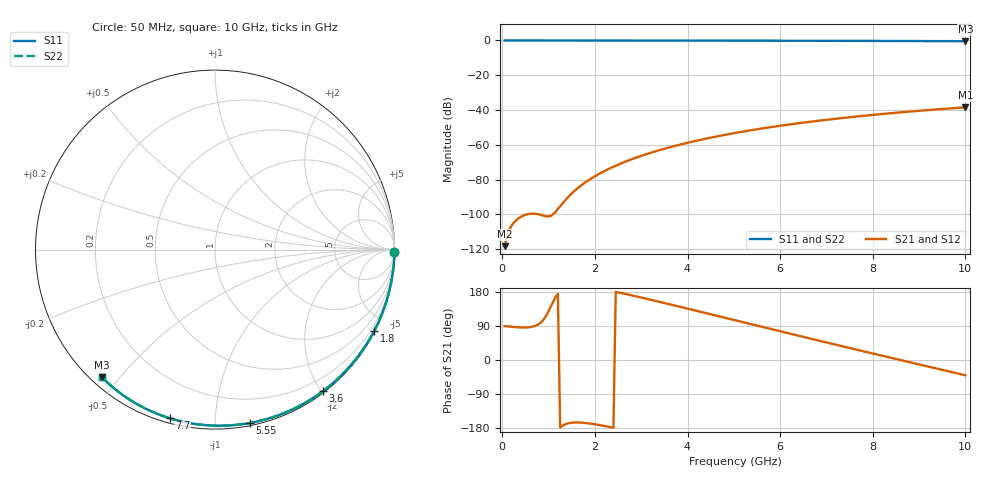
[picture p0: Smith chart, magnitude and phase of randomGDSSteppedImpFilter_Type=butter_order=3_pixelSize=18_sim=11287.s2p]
! freq	dB(S11)	phase(S11)	dB(S12)	phase(S12)
!  dB(S21)	phase(S21)	dB(S22)	phase(S22)
!S-par simulation data
#  GHz  S  DB  R 50
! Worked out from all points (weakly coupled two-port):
!   200 points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, 50 MHz to 10 GHz, reference 50 ohm
!   highest |S21| = -38.45 dB at 10 GHz (marker M1); lowest = -118.3 dB at 50 MHz (marker M2)
!   lowest |S11| = -0.4 dB at 10 GHz (marker M3), VSWR 39.15, Z = 1.54 - j22.5 ohm
!   |S11| at or under -10 dB: nowhere
!   |S22| runs from -0.4 to 0.0 dB; largest |S21 - S12| = 0
!   S11 on the Smith chart (normalised r, x): 50 MHz: open; 1.8 GHz: 0.04, -4.17; 3.6 GHz: 0.02, -2.02; 5.55 GHz: 0.02, -1.22; 7.7 GHz: 0.02, -0.77; 10 GHz: 0.03, -0.45
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0.05  -0.00 -0.8  -118.32 89.4  -118.32 89.4  -0.00 -0.8
0.9  -0.02 -13.6  -100.89 108.4  -100.89 108.4  -0.02 -13.6
1.75  -0.03 -26.2  -82.45 -165.7  -82.45 -165.7  -0.03 -26.2
1.8  -0.03 -26.9  -81.50 -166.3  -81.50 -166.3  -0.03 -26.9
1.85  -0.04 -27.7  -80.60 -167.0  -80.60 -167.0  -0.04 -27.7
1.9  -0.04 -28.4  -79.74 -167.8  -79.74 -167.8  -0.04 -28.4
2.05  -0.04 -30.6  -77.34 -170.6  -77.34 -170.6  -0.04 -30.6
2.25  -0.04 -33.5  -74.52 -175.1  -74.52 -175.1  -0.04 -33.5
2.45  -0.05 -36.4  -72.03 179.9  -72.03 179.9  -0.05 -36.4
2.65  -0.05 -39.3  -69.80 174.6  -69.80 174.6  -0.05 -39.3
3  -0.06 -44.3  -66.38 164.8  -66.38 164.8  -0.06 -44.3
3.4  -0.07 -49.9  -63.03 153.3  -63.03 153.3  -0.07 -49.9
3.6  -0.07 -52.7  -61.54 147.4  -61.54 147.4  -0.07 -52.7
4.3  -0.09 -62.3  -57.02 126.6  -57.02 126.6  -0.09 -62.3
5.05  -0.11 -72.2  -53.10 104.2  -53.10 104.2  -0.11 -72.2
5.55  -0.13 -78.7  -50.87 89.3  -50.87 89.3  -0.13 -78.7
6.1  -0.15 -85.7  -48.69 72.9  -48.69 72.9  -0.15 -85.7
6.7  -0.18 -93.1  -46.59 55.1  -46.59 55.1  -0.18 -93.1
7.7  -0.24 -105.1  -43.61 25.8  -43.61 25.8  -0.24 -105.1
8.35  -0.29 -112.7  -41.94 7.0  -41.94 7.0  -0.29 -112.7
9.15  -0.36 -121.9  -40.13 -16.0  -40.13 -16.0  -0.36 -121.9
10  -0.44 -131.5  -38.45 -40.3  -38.45 -40.3  -0.44 -131.5
